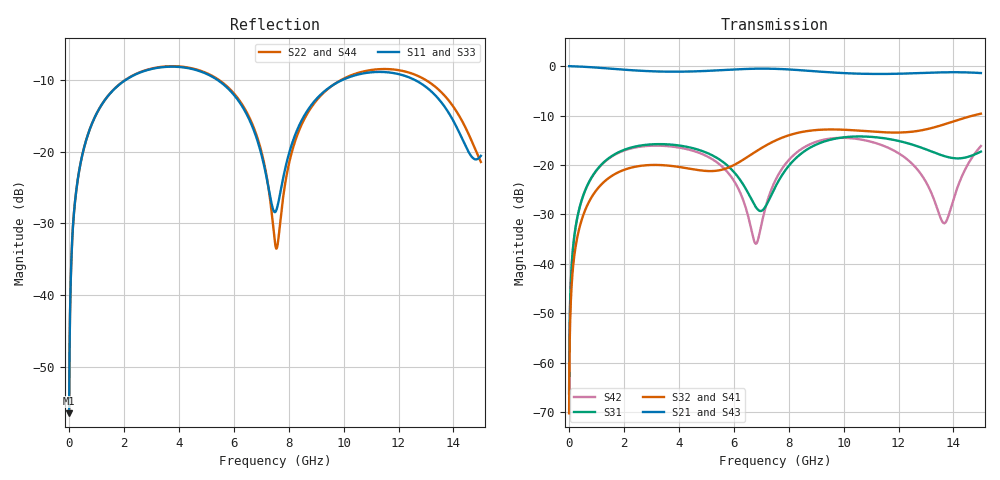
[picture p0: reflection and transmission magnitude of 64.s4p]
! Created with skrf 1.8.0 (http://scikit-rf.org).
# GHz S RI R 50.0
!freq ReS11 ImS11 ReS12 ImS12 ReS13 ImS13
! ReS14 ImS14
! ReS21 ImS21 ReS22 ImS22 ReS23 ImS23
! ReS24 ImS24
! ReS31 ImS31 ReS32 ImS32 ReS33 ImS33
! ReS34 ImS34
! ReS41 ImS41 ReS42 ImS42 ReS43 ImS43
! ReS44 ImS44
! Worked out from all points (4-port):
!   2499 points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, 5 MHz to 15 GHz, reference 50 ohm
!   strongest paths, dB at 5 MHz, 3.476 GHz, 7.19 GHz, 11.1 GHz, 15 GHz:
!     S21: 0.0, -1.1, -0.5, -1.6, -1.4
!     S43: 0.0, -1.1, -0.5, -1.6, -1.4
!     S32: -70.3, -20.1, -16.0, -13.3, -9.6
!     S41: -70.3, -20.0, -16.0, -13.2, -9.6
!     S31: -66.2, -15.8, -28.1, -14.4, -17.3
!     S42: -66.2, -16.1, -27.9, -15.5, -16.2
!   lowest |S11| = -56.5 dB at 5 MHz (marker M1), VSWR 1.00, Z = 50.1 + j0.091 ohm
!   |S11| at or under -10 dB: start of sweep to 2.06 GHz; 5.41 GHz to 9.955 GHz (4.544 GHz wide, 59.2 % of centre); 12.59 GHz to end of sweep
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0.005  0.0012 0.000908  0.9988 -0.00233  5.93e-05 0.000484  -5.75e-05 -0.000301
       0.9988 -0.00233  0.0012 0.000908  -5.75e-05 -0.000301  5.92e-05 0.000484
       5.93e-05 0.000484  -5.75e-05 -0.000301  0.0012 0.000908  0.9988 -0.00233
       -5.75e-05 -0.000301  5.92e-05 0.000484  0.9988 -0.00233  0.0012 0.000908
0.4126719  0.0214 0.0786  0.9703 -0.191  0.0106 0.038  -0.00852 -0.0235
           0.9703 -0.191  0.0215 0.0786  -0.00851 -0.0235  0.00998 0.0382
           0.0106 0.038  -0.00851 -0.0235  0.0214 0.0786  0.9703 -0.191
           -0.00852 -0.0235  0.00998 0.0382  0.9703 -0.191  0.0215 0.0786
2.125886  0.2668 0.1805  0.5517 -0.7301  0.1343 0.0575  -0.0915 -0.00627
          0.5517 -0.7301  0.2698 0.1785  -0.0913 -0.00651  0.1258 0.0689
          0.1343 0.0575  -0.0913 -0.00651  0.267 0.1804  0.5517 -0.7301
          -0.0915 -0.00627  0.1258 0.0689  0.5517 -0.7301  0.2696 0.1787
7.509379  0.038 0.000366  -0.9366 -0.0632  -0.019 0.0565  -0.00549 0.1759
          -0.9366 -0.0632  0.0207 -0.00908  -0.00969 0.1758  0.0252 0.0645
          -0.019 0.0565  -0.00969 0.1758  0.0375 -0.000447  -0.9366 -0.0637
          -0.00549 0.1759  0.0252 0.0645  -0.9366 -0.0637  0.0211 -0.0103
10.27303  0.3159 0.1093  -0.4115 0.7363  0.193 -0.00796  0.2235 0.0408
          -0.4115 0.7363  0.3196 0.1183  0.2202 0.0468  0.1853 0.0196
          0.193 -0.00796  0.2202 0.0468  0.3149 0.1079  -0.4126 0.737
          0.2235 0.0408  0.1853 0.0196  -0.4126 0.737  0.3153 0.1174
13.66194  0.1646 -0.1275  0.6291 0.5944  -0.0799 -0.0936  0.1651 -0.198
          0.6291 0.5944  0.1774 -0.1732  0.174 -0.1893  0.0244 0.00807
          -0.0799 -0.0936  0.174 -0.1893  0.1594 -0.1239  0.6314 0.5941
          0.1651 -0.198  0.0244 0.00807  0.6314 0.5941  0.1716 -0.1693
15  0.0915 0.0197  0.8387 0.1442  -0.095 0.0978  0.0432 -0.3283
    0.8387 0.1442  0.07 -0.0479  0.0575 -0.3251  0.0714 0.138
    -0.095 0.0978  0.0575 -0.3251  0.0914 0.0287  0.8392 0.1418
    0.0432 -0.3283  0.0714 0.138  0.8392 0.1418  0.0645 -0.0434
